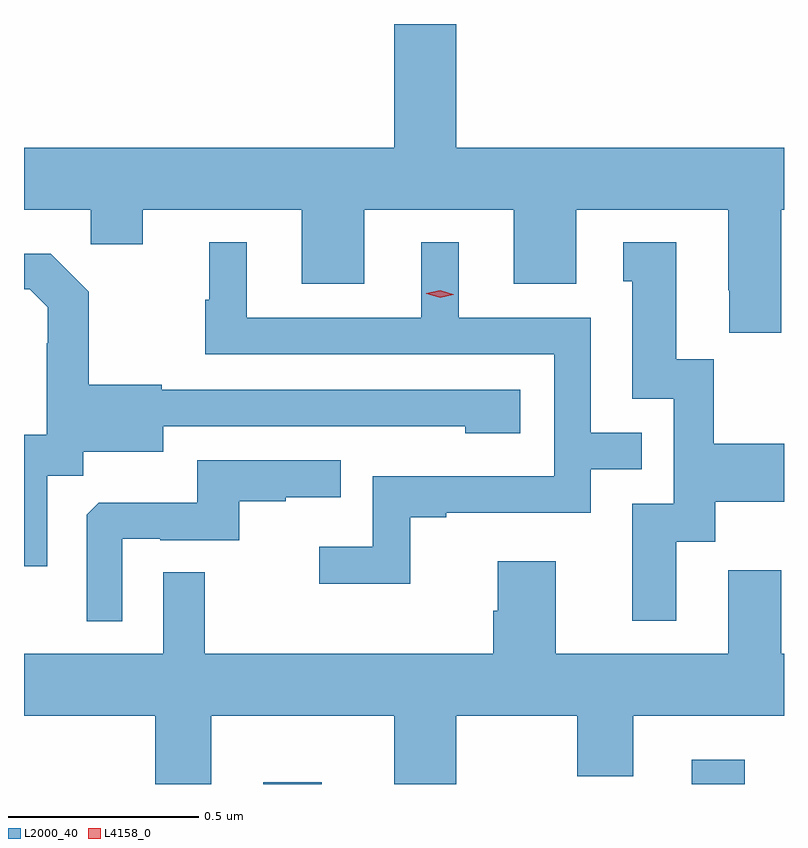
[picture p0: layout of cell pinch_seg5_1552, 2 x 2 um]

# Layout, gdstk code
import gdstk
lib = gdstk.Library(unit=1e-6, precision=1e-09)
def R(c, l, rs):  # rectangles x0, y0, x1, y1
    for r in rs: c.add(gdstk.rectangle(r[:2], r[2:], *l))
def P(c, l, *ps):  # polygons
    for p in ps: c.add(gdstk.Polygon(p, *l))
L2000_40 = (2000, 40)
L4158_0 = (4158, 0)

pinch_seg5_1552 = lib.new_cell('pinch_seg5_1552')
R(pinch_seg5_1552, L2000_40, [(212.615,845.925,212.77,845.929), (213.743,845.925,213.883,845.989)])
P(pinch_seg5_1552, L2000_40, [(211.986,847.436),(212.161,847.436),(212.161,847.346),(212.299,847.346),(212.299,847.436),(212.717,847.436),(212.717,847.242),(212.881,847.242),(212.881,847.436),(213.275,847.436),(213.275,847.242),(213.439,847.242),(213.439,847.436),(213.839,847.436),(213.839,847.225),(213.842,847.225),(213.842,847.113),(213.979,847.113),(213.979,847.436),(213.986,847.436),(213.986,847.6),(213.124,847.6),(213.124,847.925),(212.96,847.925),(212.96,847.6),(211.986,847.6)],
  [(213.703,846.562),(213.805,846.562),(213.805,846.668),(213.986,846.668),(213.986,846.82),(213.801,846.82),(213.801,847.043),(213.703,847.043),(213.703,847.351),(213.563,847.351),(213.563,847.248),(213.587,847.248),(213.587,846.939),(213.696,846.939),(213.696,846.663),(213.587,846.663),(213.587,846.354),(213.703,846.354)],
  [(213.003,846.627),(213.097,846.627),(213.097,846.639),(213.477,846.639),(213.477,846.753),(213.611,846.753),(213.611,846.849),(213.477,846.849),(213.477,847.152),(213.13,847.152),(213.13,847.351),(213.032,847.351),(213.032,847.152),(212.572,847.152),(212.572,847.351),(212.474,847.351),(212.474,847.2),(212.463,847.2),(212.463,847.056),(213.381,847.056),(213.381,846.735),(212.904,846.735),(212.904,846.55),(212.763,846.55),(212.763,846.452),(213.003,846.452)],
  [(212.047,846.736),(212.142,846.736),(212.142,846.8),(212.353,846.8),(212.353,846.867),(212.911,846.867),(212.911,846.866),(213.147,846.866),(213.147,846.848),(213.292,846.848),(213.292,846.963),(212.349,846.963),(212.349,846.976),(212.157,846.976),(212.157,847.221),(212.057,847.321),(211.986,847.321),(211.986,847.227),(212.001,847.227),(212.048,847.18),(212.048,847.085),(212.046,847.085),(212.046,846.844),(211.986,846.844),(211.986,846.498),(212.047,846.498)],
  [(212.244,846.57),(212.344,846.57),(212.344,846.567),(212.552,846.567),(212.552,846.669),(212.675,846.669),(212.675,846.68),(212.819,846.68),(212.819,846.777),(212.442,846.777),(212.442,846.665),(212.183,846.665),(212.151,846.633),(212.151,846.353),(212.244,846.353)],
  [(212.479,846.104),(212.96,846.104),(212.96,845.925),(213.124,845.925),(213.124,846.104),(213.442,846.104),(213.442,845.945),(213.589,845.945),(213.589,846.104),(213.986,846.104),(213.986,846.268),(213.979,846.268),(213.979,846.487),(213.839,846.487),(213.839,846.268),(213.385,846.268),(213.385,846.511),(213.233,846.511),(213.233,846.381),(213.221,846.381),(213.221,846.268),(212.461,846.268),(212.461,846.482),(212.352,846.482),(212.352,846.268),(211.986,846.268),(211.986,846.104),(212.332,846.104),(212.332,845.925),(212.479,845.925)])
P(pinch_seg5_1552, L4158_0, [(213.081,847.204),(213.045,847.215),(213.045,847.215),(213.045,847.216),(213.081,847.224),(213.116,847.214),(213.117,847.213),(213.116,847.213)])

lib.write_gds('pinch_seg5_1552.gds')
